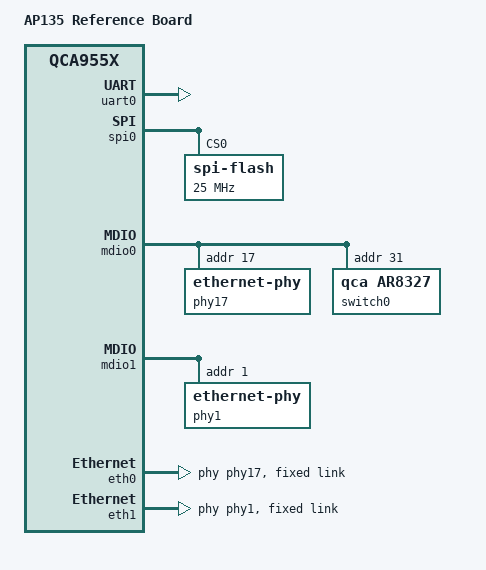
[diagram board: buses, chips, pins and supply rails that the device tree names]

// SPDX-License-Identifier: GPL-2.0+
/*
 * Copyright (C) 2015-2016 Wills Wang <wills.wang@live.com>
 */
/dts-v1/;
#include "qca955x.dtsi"

/ {
	model = "AP135 Reference Board";
	compatible = "qca,ap135", "qca,qca955x";

	aliases {
		spi0 = &spi0;
		serial0 = &uart0;
	};

	chosen {
		stdout-path = "serial0:115200n8";
	};
};

&xtal {
	clock-frequency = <40000000>;
};

&uart0 {
	status = "okay";
	uart-frequency = <25000000>;
};

&spi0 {
	status = "okay";
	spi-flash@0 {
		#address-cells = <1>;
		#size-cells = <1>;
		compatible = "spi-flash";
		memory-map = <0x9f000000 0x00800000>;
		spi-max-frequency = <25000000>;
		reg = <0>;
	};
};

&mdio0 {
		status = "okay";

		phy17: ethernet-phy@11 {
			reg = <0x11>;
			phy-mode = "rgmii-id";
			
		};

		switch0@1f {
			compatible = "qca,ar8327";
			reg = <0x1f>;
			qca,ar8327-initvals = <
				0x04 0x87600000 /* PORT0 PAD MODE CTRL */
				0x0c 0x00080080 /* PORT6 PAD MODE CTRL */
				0x10 0x81000080 /* POWER_ON_STRIP */
				0x50 0xffb7ffb7 /* LED_CTRL0 */
				0x54 0xffb7ffb7 /* LED_CTRL1 */
				0x58 0xffb7ffb7 /* LED_CTRL2 */
				0x5c 0x03ffff00 /* LED_CTRL3 */
				0x7c 0x0000007e /* PORT0_STATUS */
				0x94 0x0000007e /* PORT6 STATUS */
			>;
		};
   
	};
			


&mdio1 {
	status = "okay";

	phy1: ethernet-phy@1 {
		reg = <1>;
		phy-mode = "sgmii";
	};
};


&eth0 {
	status = "okay";

	pll-data = <0xa6000000 0x00000101 0x00001616>;
	phy-handle = <&phy17>;

	fixed-link {
		speed = <1000>;
		full-duplex;
	};
};

&eth1 {
	status = "okay";

	pll-data = <0x03000101 0x00000101 0x00001616>;
	phy-handle = <&phy1>;

	fixed-link {
		speed = <1000>;
		full-duplex;
	};
};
